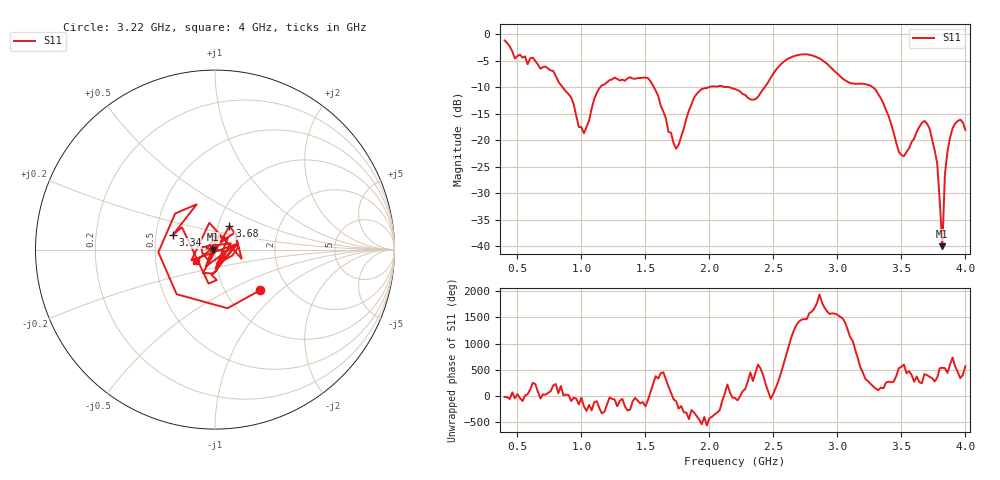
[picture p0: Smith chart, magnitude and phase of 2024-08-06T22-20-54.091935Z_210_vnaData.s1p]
!Created with skrf (http://scikit-rf.org).
# Hz S RI R 50.0
!freq ReS11 ImS11
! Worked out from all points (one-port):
!   181 points, 400 MHz to 4 GHz, reference 50 ohm
!   lowest |S11| = -40.0 dB at 3.82 GHz (marker M1), VSWR 1.02, Z = 49 + j0.0232 ohm
!   |S11| at or under -10 dB: 854.9 MHz to 1.146 GHz (291.3 MHz wide, 29.1 % of centre); 1.567 GHz to 1.991 GHz (423.5 MHz wide, 23.8 % of centre); 3.28 GHz to end of sweep (the widest 3 of 4)
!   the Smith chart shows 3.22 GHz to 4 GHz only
!   S11 on the Smith chart (normalised r, x): 3.22 GHz: 1.45, -0.74; 3.34 GHz: 0.61, +0.10; 3.68 GHz: 1.13, +0.30; 4 GHz: 0.80, -0.10
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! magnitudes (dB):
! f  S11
! 400 MHz  -1.1
! 480 MHz  -4.5
! 620 MHz  -4.4
! 860 MHz  -10.2
! 1.02 GHz  -18.7
! 1.14 GHz  -10.2
! 1.3 GHz  -8.7
! 1.52 GHz  -8.2
! 1.74 GHz  -21.6
! 1.76 GHz  -20.8
! 1.92 GHz  -10.7
! 2.2 GHz  -10.3
! 2.36 GHz  -12.2
! 2.66 GHz  -4.1
! 2.86 GHz  -4.5
! 3.1 GHz  -9.2
! 3.22 GHz  -9.4
! 3.34 GHz  -12.1
! 3.48 GHz  -22.2
! 3.56 GHz  -21.5
! 3.68 GHz  -16.3
! 3.72 GHz  -17.8
! 3.78 GHz  -24.4
! 3.82 GHz  -40.0
! 3.84 GHz  -26.5
! 3.88 GHz  -19.5
! 3.96 GHz  -16.1
! 4 GHz  -18.0
